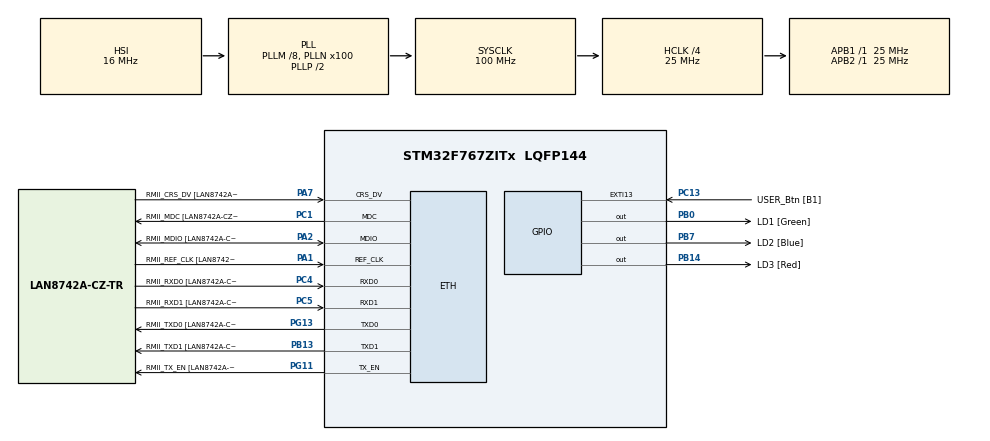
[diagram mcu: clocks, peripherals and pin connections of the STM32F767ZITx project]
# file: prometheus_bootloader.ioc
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Mcu.Family=STM32F7
RCC.CortexFreq_Value=25000000
PB14.GPIO_Label=LD3 [Red]
PA14.GPIO_Label=TCK
RCC.SYSCLKSourceVirtual=RCC_SYSCLKSOURCE_PLLCLK
CORTEX_M7.PREFETCH_ENABLE=1
PB0.GPIO_Label=LD1 [Green]
PC5.Mode=RMII
PC13.GPIO_Label=USER_Btn [B1]
PB13.GPIO_Label=RMII_TXD1 [LAN8742A-CZ-TR_TXD1]
PB13.Signal=ETH_TXD1
PG13.Signal=ETH_TXD0
PG11.Signal=ETH_TX_EN
RCC.SYSCLKSource=RCC_SYSCLKSOURCE_PLLCLK
ProjectManager.StackSize=0x4000
ETH.PHY_Value=0
RCC.HCLKFreq_Value=25000000
RCC.APB2TimFreq_Value=25000000
RCC.AHBFreq_Value=25000000
NVIC.ETH_IRQn=true\:0\:0\:false\:false\:true\:true\:true
LWIP.MEMP_NUM_SYS_TIMEOUT=10
RCC.HSE_VALUE=8000000
RCC.PLLMUL=RCC_PLL_MUL9
LWIP.MEM_SIZE=10*1024
PC4.GPIO_Label=RMII_RXD0 [LAN8742A-CZ-TR_RXD0]
PA14.Mode=Serial_Wire
PB7.Signal=GPIO_Output
PG13.Mode=RMII
ETH.PHY_Name=LAN8742A_PHY_ADDRESS
PB7.GPIO_Label=LD2 [Blue]
Mcu.Package=LQFP144
PC14/OSC32_IN.Signal=RCC_OSC32_IN
PA2.GPIO_Label=RMII_MDIO [LAN8742A-CZ-TR_MDIO]
RCC.APB1TimFreq_Value=25000000
PG11.GPIO_Label=RMII_TX_EN [LAN8742A-CZ-TR_TXEN]
PC5.Signal=ETH_RXD1
PB13.Mode=RMII
PC4.Mode=RMII
CORTEX_M7.CPU_ICache=Disabled
PA7.Mode=RMII
PC13.Signal=GPXTI13
PC4.Signal=ETH_RXD0
ETH.MACAddr=00\:80\:E1\:00\:01\:12
PG13.GPIO_Label=RMII_TXD0 [LAN8742A-CZ-TR_TXD0]
ETH.PhyAddress=0
VP_LWIP_VS_Enabled.Mode=Enabled
PA13.Signal=SYS_JTMS-SWDIO
LWIP.PBUF_POOL_BUFSIZE=1524
ProjectManager.TargetToolchain=STM32CubeIDE
CORTEX_M7.ART_ACCLERATOR_ENABLE=1
RCC.USBFreq_Value=50000000
RCC.LSE_VALUE=32768
PA1.Signal=ETH_REF_CLK
PB14.Signal=GPIO_Output
board=NUCLEO-F767ZI
RCC.VCOOutputFreq_Value=200000000
LWIP.MEMP_NUM_PBUF=10
RCC.APB2Freq_Value=25000000
PA1.Mode=RMII
RCC.PRESCALERUSB=RCC_USBCLKSOURCE_PLL_DIV1_5
PC1.GPIO_Label=RMII_MDC [LAN8742A-CZ-TR_MDC]
PA1.GPIO_Label=RMII_REF_CLK [LAN8742A-CZ-TR_REFCLK0]
RCC.AHBCLKDivider=RCC_SYSCLK_DIV4
PA13.Mode=Serial_Wire
Mcu.Name=STM32F767ZITx
PA2.Signal=ETH_MDIO
PA13.GPIO_Label=TMS
RCC.48MHZClocksFreq_Value=24000000
RCC.SYSCLKFreq_VALUE=100000000
ETH.MediaInterface=ETH_MEDIA_INTERFACE_RMII
PA7.GPIO_Label=RMII_CRS_DV [LAN8742A-CZ-TR_CRS_DV]
PC5.GPIO_Label=RMII_RXD1 [LAN8742A-CZ-TR_RXD1]
PG11.Mode=RMII
PA14.Signal=SYS_JTCK-SWCLK
ProjectManager.HeapSize=0x2000
LWIP.Version=v2.1.2_Cube
RCC.HSI_VALUE=16000000
RCC.PLLQ=4
NVIC.PriorityGroup=NVIC_PRIORITYGROUP_4
RCC.PLLM=8
RCC.PLLN=100
PA2.Mode=RMII
PC15/OSC32_OUT.Signal=RCC_OSC32_OUT
CORTEX_M7.CPU_DCache=Disabled
RCC.APB1Freq_Value=25000000
PB0.Signal=GPIO_Output
PC1.Signal=ETH_MDC
PC1.Mode=RMII
PA7.Signal=ETH_CRS_DV

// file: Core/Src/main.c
/* USER CODE BEGIN Header */
/**
 ******************************************************************************
 * @file           : main.c
 * @brief          : Main program body
 ******************************************************************************
 * @attention
 *
 * <h2><center>&copy; Copyright (c) 2021 STMicroelectronics.
 * All rights reserved.</center></h2>
 *
 * This software component is licensed by ST under BSD 3-Clause license,
 * the "License"; You may not use this file except in compliance with the
 * License. You may obtain a copy of the License at:
 *                        opensource.org/licenses/BSD-3-Clause
 *
 ******************************************************************************
 */
/* USER CODE END Header */
#include "main.h"

/* USER CODE BEGIN Includes */
#include "gpio.h"
#include "lwip.h"

#include "lwip/opt.h"
#include "lwip/init.h"
#include "lwip/netif.h"
#include "lwip/timeouts.h"
#include "lwip/dhcp.h"
#include "netif/etharp.h"

#include "tftpserver.h"
#include "client.h"
/* USER CODE END Includes */

/* USER CODE BEGIN PTD */
typedef void (*pFunction)(void);
/* USER CODE END PTD */

/* USER CODE BEGIN PV */
//static pFunction Jump_To_Application;
//volatile uint32_t JumpAddress;
extern struct netif gnetif;
/* USER CODE END PV */

void SystemClock_Config(void);
/* USER CODE BEGIN PFP */
//uint8_t load_bootloader();
static void reset_device(void);
/* USER CODE END PFP */

int main(void)
{
  /* USER CODE BEGIN 1 */
//	uint32_t Data_R = *(__IO uint32_t*) LOAD_BOOTLOADER_ADDRESS;
//	if (Data_R == 1 || Data_R == 0xFFFFFFFF) {
//
//	} else {
//		pFunction Jump_To_Application;
//		uint32_t JumpAddress;
//
//		JumpAddress = *(__IO uint32_t*) (USER_FLASH_FIRST_PAGE_ADDRESS + 4);
//		__disable_irq();
//		/* Deinit everything */
//		//		HAL_RCC_DeInit();
//		//		HAL_DeInit();
//		SysTick->CTRL = 0;
//		SysTick->LOAD = 0;
//		SysTick->VAL = 0;
//		/* Jump to user application */
//		Jump_To_Application = (pFunction) JumpAddress;
//
//		/* Initialize user application's Stack Pointer */
//		__set_MSP(*(__IO uint32_t*) USER_FLASH_FIRST_PAGE_ADDRESS);
//		__set_PSP(*(__IO uint32_t*) USER_FLASH_FIRST_PAGE_ADDRESS);
//		__enable_irq();
//		Jump_To_Application();
//		/* do nothing */
//		while (1)
//			;
//	}
  /* USER CODE END 1 */

  /* MCU Configuration--------------------------------------------------------*/

  /* Reset of all peripherals, Initializes the Flash interface and the Systick. */
  HAL_Init();

  /* Initialize all configured peripherals */
  /* USER CODE BEGIN 2 */
	MX_GPIO_Init();
	uint32_t Data_R = *(__IO uint32_t*) LOAD_BOOTLOADER_ADDRESS;
	if (Data_R == 1 || Data_R == 0xFFFFFFFF || HAL_GPIO_ReadPin(USER_Btn_GPIO_Port, USER_Btn_Pin)) {
		HAL_GPIO_WritePin(LD3_GPIO_Port, LD3_Pin, GPIO_PIN_SET);
		SystemClock_Config();
		MX_LWIP_Init();
	} else {
		uint32_t JumpAddress = *(__IO uint32_t*) (USER_FLASH_FIRST_PAGE_ADDRESS + 4);
		pFunction Jump_To_Application = (pFunction) JumpAddress;

		/* Deinit everything */
		HAL_GPIO_DeInit(LD1_GPIO_Port, LD1_Pin);
		HAL_GPIO_DeInit(LD2_GPIO_Port, LD2_Pin);
		HAL_GPIO_DeInit(LD3_GPIO_Port, LD3_Pin);
		HAL_GPIO_DeInit(USER_Btn_GPIO_Port, USER_Btn_Pin);
		HAL_RCC_DeInit();
		HAL_DeInit();
		SysTick->CTRL = 0;
		SysTick->LOAD = 0;
		SysTick->VAL = 0;

		__disable_irq();

		/* Initialize user application's Stack Pointer */
		__set_MSP(*(__IO uint32_t*) USER_FLASH_FIRST_PAGE_ADDRESS);
		__enable_irq();
		/* Jump to user application */
		Jump_To_Application();
		/* do nothing */
		while (1)
			;
	}
  /* USER CODE END 2 */

  /* Infinite loop */
  /* USER CODE BEGIN WHILE */
	uint8_t server_init_state = 0;
	uint8_t status = 0;
	while (1) {
    /* USER CODE END WHILE */

    /* USER CODE BEGIN 3 */
		MX_LWIP_Process();
		if (gnetif.ip_addr.addr != 0 && server_init_state == 0) {
			server_init_state = 1;
			client_connect();
		}
		status = client_is_connected();
		if (status == S_CONN_ABRT) {
			client_close_connect();
			HAL_Delay(500);
			client_connect();
			HAL_GPIO_TogglePin(LD1_GPIO_Port, LD1_Pin);
			HAL_Delay(500);
		}
		if (firmware_downloaded()) {
			reset_device();
		}
	}
  /* USER CODE END 3 */
}

void SystemClock_Config(void)
{
  RCC_OscInitTypeDef RCC_OscInitStruct = {0};
  RCC_ClkInitTypeDef RCC_ClkInitStruct = {0};

  /** Configure the main internal regulator output voltage
  */
  __HAL_RCC_PWR_CLK_ENABLE();
  __HAL_PWR_VOLTAGESCALING_CONFIG(PWR_REGULATOR_VOLTAGE_SCALE3);
  /** Initializes the RCC Oscillators according to the specified parameters
  * in the RCC_OscInitTypeDef structure.
  */
  RCC_OscInitStruct.OscillatorType = RCC_OSCILLATORTYPE_HSI;
  RCC_OscInitStruct.HSIState = RCC_HSI_ON;
  RCC_OscInitStruct.HSICalibrationValue = RCC_HSICALIBRATION_DEFAULT;
  RCC_OscInitStruct.PLL.PLLState = RCC_PLL_ON;
  RCC_OscInitStruct.PLL.PLLSource = RCC_PLLSOURCE_HSI;
  RCC_OscInitStruct.PLL.PLLM = 8;
  RCC_OscInitStruct.PLL.PLLN = 100;
  RCC_OscInitStruct.PLL.PLLP = RCC_PLLP_DIV2;
  RCC_OscInitStruct.PLL.PLLQ = 4;
  if (HAL_RCC_OscConfig(&RCC_OscInitStruct) != HAL_OK)
  {
    Error_Handler();
  }
  /** Initializes the CPU, AHB and APB buses clocks
  */
  RCC_ClkInitStruct.ClockType = RCC_CLOCKTYPE_HCLK|RCC_CLOCKTYPE_SYSCLK
                              |RCC_CLOCKTYPE_PCLK1|RCC_CLOCKTYPE_PCLK2;
  RCC_ClkInitStruct.SYSCLKSource = RCC_SYSCLKSOURCE_PLLCLK;
  RCC_ClkInitStruct.AHBCLKDivider = RCC_SYSCLK_DIV4;
  RCC_ClkInitStruct.APB1CLKDivider = RCC_HCLK_DIV1;
  RCC_ClkInitStruct.APB2CLKDivider = RCC_HCLK_DIV1;

  if (HAL_RCC_ClockConfig(&RCC_ClkInitStruct, FLASH_LATENCY_0) != HAL_OK)
  {
    Error_Handler();
  }
}

/* USER CODE BEGIN 4 */
static void reset_device(void) {
	FLASH_EraseInitTypeDef FLASH_EraseInitStruct;
	uint32_t sectornb = 0;

	FLASH_EraseInitStruct.TypeErase = FLASH_TYPEERASE_SECTORS;
	FLASH_EraseInitStruct.Sector = FLASH_SECTOR_11;
	FLASH_EraseInitStruct.NbSectors = 1;
	FLASH_EraseInitStruct.VoltageRange = FLASH_VOLTAGE_RANGE_3;
	HAL_FLASH_Unlock();
	if (HAL_FLASHEx_Erase(&FLASH_EraseInitStruct, &sectornb) != HAL_OK) {
		Error_Handler();
	}
	HAL_FLASH_Program(FLASH_TYPEPROGRAM_WORD, (uint32_t) LOAD_BOOTLOADER_ADDRESS, 0);
	HAL_FLASH_Lock();
	NVIC_SystemReset();
}
/* USER CODE END 4 */

void Error_Handler(void)
{
	__disable_irq();
	while (1) {
	}
}

/************************ (C) COPYRIGHT STMicroelectronics *****END OF FILE****/
